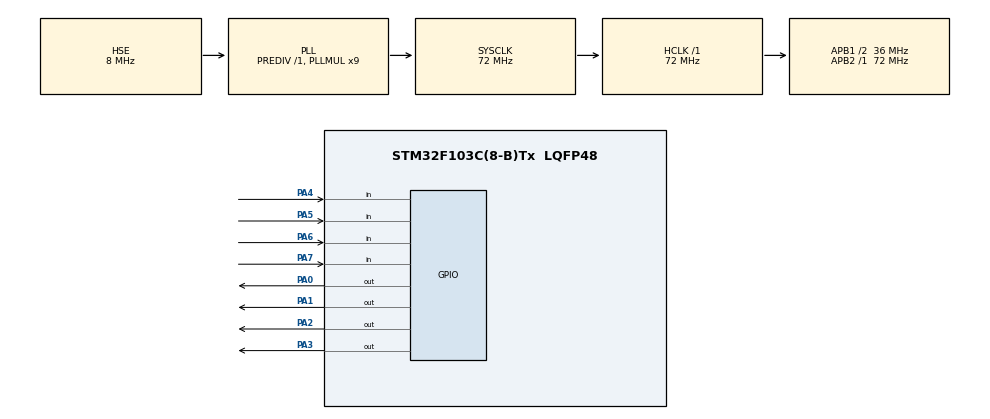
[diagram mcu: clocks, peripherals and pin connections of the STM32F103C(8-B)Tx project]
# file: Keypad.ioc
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Mcu.Family=STM32F1
Mcu.Name=STM32F103C(8-B)Tx
Mcu.Package=LQFP48
NVIC.PriorityGroup=NVIC_PRIORITYGROUP_4
PA0-WKUP.Signal=GPIO_Output
PA1.Signal=GPIO_Output
PA13.Mode=Serial_Wire
PA13.Signal=SYS_JTMS-SWDIO
PA14.Mode=Serial_Wire
PA14.Signal=SYS_JTCK-SWCLK
PA2.Signal=GPIO_Output
PA3.Signal=GPIO_Output
PA4.GPIO_PuPd=GPIO_PULLUP
PA4.Signal=GPIO_Input
PA5.GPIO_PuPd=GPIO_PULLUP
PA5.Signal=GPIO_Input
PA6.GPIO_PuPd=GPIO_PULLUP
PA6.Signal=GPIO_Input
PA7.GPIO_PuPd=GPIO_PULLUP
PA7.Signal=GPIO_Input
PD0-OSC_IN.Mode=HSE-External-Oscillator
PD0-OSC_IN.Signal=RCC_OSC_IN
PD1-OSC_OUT.Mode=HSE-External-Oscillator
PD1-OSC_OUT.Signal=RCC_OSC_OUT
ProjectManager.HeapSize=0x200
ProjectManager.StackSize=0x400
ProjectManager.TargetToolchain=MDK-ARM V5.32
RCC.AHBFreq_Value=72000000
RCC.APB1CLKDivider=RCC_HCLK_DIV2
RCC.APB1Freq_Value=36000000
RCC.APB1TimFreq_Value=72000000
RCC.APB2Freq_Value=72000000
RCC.APB2TimFreq_Value=72000000
RCC.HCLKFreq_Value=72000000
RCC.PLLMUL=RCC_PLL_MUL9
RCC.PLLSourceVirtual=RCC_PLLSOURCE_HSE
RCC.SYSCLKFreq_VALUE=72000000
RCC.SYSCLKSource=RCC_SYSCLKSOURCE_PLLCLK
RCC.USBFreq_Value=72000000
board=custom

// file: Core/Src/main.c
/* USER CODE BEGIN Header */
/**
  ******************************************************************************
  * @file           : main.c
  * @brief          : Main program body
  ******************************************************************************
  * @attention
  *
  * Copyright (c) 2023 STMicroelectronics.
  * All rights reserved.
  *
  * This software is licensed under terms that can be found in the LICENSE file
  * in the root directory of this software component.
  * If no LICENSE file comes with this software, it is provided AS-IS.
  *
  ******************************************************************************
  */
/* USER CODE END Header */
#include "main.h"

void SystemClock_Config(void);
static void MX_GPIO_Init(void);

/* USER CODE BEGIN 0 */
uint8_t key_current;
uint8_t key_last;
uint8_t key_debounce;
uint8_t is_debouncing = 0;
uint32_t time_debouncing;
#define NUMBER_ROW 4
#define NUMBER_COL 4
uint8_t KeyPad[NUMBER_ROW][NUMBER_COL]=
{
	{'1', '2', '3', 'A'},
	{'4', '5', '6', 'B'},
	{'7', '8', '9', 'C'},
	{'*', '0', '#', 'D'}
};
GPIO_TypeDef *ROW_GPIOPORT[NUMBER_ROW] = {GPIOA,GPIOA,GPIOA,GPIOA};
GPIO_TypeDef *COL_GPIOPORT[NUMBER_ROW] = {GPIOA,GPIOA,GPIOA,GPIOA};
uint16_t ROW_GPIOPin[NUMBER_ROW] = {GPIO_PIN_0,GPIO_PIN_1,GPIO_PIN_2,GPIO_PIN_3};
uint16_t COL_GPIOPin[NUMBER_ROW] = {GPIO_PIN_4,GPIO_PIN_5,GPIO_PIN_6,GPIO_PIN_7};
void SELECT_ROW(uint16_t row)
{
	HAL_GPIO_WritePin(ROW_GPIOPORT[row],ROW_GPIOPin[row],GPIO_PIN_RESET);
}
void UNSELECT_ROW()
{
	for(uint8_t row = 0; row < NUMBER_ROW; row++)
	{
		HAL_GPIO_WritePin(ROW_GPIOPORT[row],ROW_GPIOPin[row], GPIO_PIN_SET);
	}
}
uint8_t KeyPad_GetKey()
{
	for(uint8_t row = 0; row < NUMBER_ROW; row++)
	{
		UNSELECT_ROW();
		SELECT_ROW(row);
		for(uint8_t col = 0; col < NUMBER_COL; col++)
		{
			if(HAL_GPIO_ReadPin(COL_GPIOPORT[col],COL_GPIOPin[col]) == 0)
			{
				return KeyPad[row][col];
			}
		}
	}
	return 0;
}
void KeyPad_Handle()
{
	uint8_t key = KeyPad_GetKey();
	if(key != key_current)
	{
		key_debounce = key;
		is_debouncing = 1;
	}
	if(is_debouncing && HAL_GetTick() - time_debouncing > 15)
	{
		key_current = key_debounce;
		is_debouncing = 0;
	}
	if(key_current != key_last)
	{

	}

}
/* USER CODE END 0 */

int main(void)
{

  /* MCU Configuration--------------------------------------------------------*/

  /* Reset of all peripherals, Initializes the Flash interface and the Systick. */
  HAL_Init();

  /* Configure the system clock */
  SystemClock_Config();

  /* Initialize all configured peripherals */
  MX_GPIO_Init();

  /* Infinite loop */
  while (1)
  {

  }
}

void SystemClock_Config(void)
{
  RCC_OscInitTypeDef RCC_OscInitStruct = {0};
  RCC_ClkInitTypeDef RCC_ClkInitStruct = {0};

  /** Initializes the RCC Oscillators according to the specified parameters
  * in the RCC_OscInitTypeDef structure.
  */
  RCC_OscInitStruct.OscillatorType = RCC_OSCILLATORTYPE_HSE;
  RCC_OscInitStruct.HSEState = RCC_HSE_ON;
  RCC_OscInitStruct.HSEPredivValue = RCC_HSE_PREDIV_DIV1;
  RCC_OscInitStruct.HSIState = RCC_HSI_ON;
  RCC_OscInitStruct.PLL.PLLState = RCC_PLL_ON;
  RCC_OscInitStruct.PLL.PLLSource = RCC_PLLSOURCE_HSE;
  RCC_OscInitStruct.PLL.PLLMUL = RCC_PLL_MUL9;
  if (HAL_RCC_OscConfig(&RCC_OscInitStruct) != HAL_OK)
  {
    Error_Handler();
  }

  /** Initializes the CPU, AHB and APB buses clocks
  */
  RCC_ClkInitStruct.ClockType = RCC_CLOCKTYPE_HCLK|RCC_CLOCKTYPE_SYSCLK
                              |RCC_CLOCKTYPE_PCLK1|RCC_CLOCKTYPE_PCLK2;
  RCC_ClkInitStruct.SYSCLKSource = RCC_SYSCLKSOURCE_PLLCLK;
  RCC_ClkInitStruct.AHBCLKDivider = RCC_SYSCLK_DIV1;
  RCC_ClkInitStruct.APB1CLKDivider = RCC_HCLK_DIV2;
  RCC_ClkInitStruct.APB2CLKDivider = RCC_HCLK_DIV1;

  if (HAL_RCC_ClockConfig(&RCC_ClkInitStruct, FLASH_LATENCY_2) != HAL_OK)
  {
    Error_Handler();
  }
}

static void MX_GPIO_Init(void)
{
  GPIO_InitTypeDef GPIO_InitStruct = {0};

  /* GPIO Ports Clock Enable */
  __HAL_RCC_GPIOD_CLK_ENABLE();
  __HAL_RCC_GPIOA_CLK_ENABLE();

  /*Configure GPIO pin Output Level */
  HAL_GPIO_WritePin(GPIOA, GPIO_PIN_0|GPIO_PIN_1|GPIO_PIN_2|GPIO_PIN_3, GPIO_PIN_RESET);

  /*Configure GPIO pins : PA0 PA1 PA2 PA3 */
  GPIO_InitStruct.Pin = GPIO_PIN_0|GPIO_PIN_1|GPIO_PIN_2|GPIO_PIN_3;
  GPIO_InitStruct.Mode = GPIO_MODE_OUTPUT_PP;
  GPIO_InitStruct.Pull = GPIO_NOPULL;
  GPIO_InitStruct.Speed = GPIO_SPEED_FREQ_LOW;
  HAL_GPIO_Init(GPIOA, &GPIO_InitStruct);

  /*Configure GPIO pins : PA4 PA5 PA6 PA7 */
  GPIO_InitStruct.Pin = GPIO_PIN_4|GPIO_PIN_5|GPIO_PIN_6|GPIO_PIN_7;
  GPIO_InitStruct.Mode = GPIO_MODE_INPUT;
  GPIO_InitStruct.Pull = GPIO_PULLUP;
  HAL_GPIO_Init(GPIOA, &GPIO_InitStruct);

}

void Error_Handler(void)
{
  __disable_irq();
  while (1)
  {
  }
}
